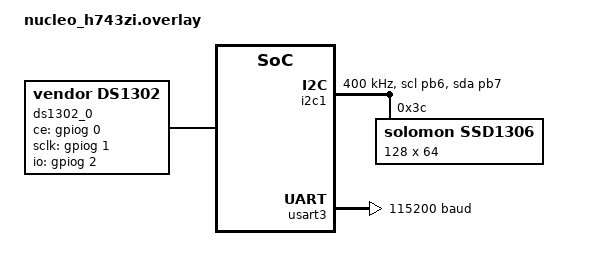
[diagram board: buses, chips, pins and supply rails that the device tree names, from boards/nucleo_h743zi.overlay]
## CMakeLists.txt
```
# SPDX-License-Identifier: Apache-2.0

cmake_minimum_required(VERSION 3.20.0)

find_package(Zephyr REQUIRED HINTS $ENV{ZEPHYR_BASE})
project(clock_display)

add_subdirectory(driver)

target_sources(app PRIVATE src/main.c)
```

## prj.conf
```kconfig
# Added automatically by Workbench for Zephyr
#--- DEBUG PRESET - BEGIN ---#
# Set to -Og
CONFIG_DEBUG_OPTIMIZATIONS=y
# Thread awareness support
CONFIG_DEBUG_THREAD_INFO=y
# Generate stack usage per-function
CONFIG_STACK_USAGE=y
# Other options in case not set by default
CONFIG_BUILD_OUTPUT_HEX=y
CONFIG_BUILD_OUTPUT_META=y
CONFIG_OUTPUT_SYMBOLS=y
CONFIG_OUTPUT_STAT=y
CONFIG_OUTPUT_DISASSEMBLY=y
CONFIG_OUTPUT_PRINT_MEMORY_USAGE=y
#--- DEBUG PRESET - END ---#

# Activar GPIO
CONFIG_GPIO=y

# Desactivar mensaje inicial de Zephyr
CONFIG_BOOT_BANNER=n

# Activar log
CONFIG_LOG=y
CONFIG_LOG_DEFAULT_LEVEL=3

# Activar I2C, display
CONFIG_I2C=y
CONFIG_DISPLAY=y
CONFIG_SSD1306=y
CONFIG_CHARACTER_FRAMEBUFFER=y
CONFIG_CHARACTER_FRAMEBUFFER_USE_DEFAULT_FONTS=y
CONFIG_HEAP_MEM_POOL_SIZE=4096

# Activar interrupciones UART
CONFIG_UART_INTERRUPT_DRIVEN=y
```

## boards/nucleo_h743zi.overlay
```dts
/* 
 * Overlay para RTC ds1302. Pines de conexion GPIOG 0, 1, 2 
 * Display ssd1306. Pines de conexion GPIOB 6 (scl), 7 (sda)
 */
#include <zephyr/dt-bindings/i2c/i2c.h>
#include <zephyr/dt-bindings/gpio/gpio.h>

/ {
    ds1302_0: ds1302 {
        compatible = "vendor,ds1302";
        ce-gpios   = <&gpiog 0 GPIO_ACTIVE_HIGH>;
        sclk-gpios = <&gpiog 1 GPIO_ACTIVE_HIGH>;
        io-gpios   = <&gpiog 2 GPIO_ACTIVE_HIGH>;
        status = "okay";
    };
};

/* Configuracion de display i2c */
&i2c1 {
    pinctrl-0 = <&i2c1_scl_pb6 &i2c1_sda_pb7>;
    pinctrl-names = "default";
    clock-frequency = <I2C_BITRATE_FAST>; /* 400kHz */
    status = "okay";

    ssd1306: ssd1306@3c {
        compatible = "solomon,ssd1306";
        reg = <0x3c>;
        segment-offset = <0>;
        page-offset = <0>;
        display-offset = <0>;
        multiplex-ratio = <63>;
        prechargep = <0x22>;
        width = <128>; height = <64>;
        segment-remap;
        com-invdir;
    };

};

/* Configuracion uart3 */
&usart3 {
    current-speed = <115200>;
    status = "okay";
};
```

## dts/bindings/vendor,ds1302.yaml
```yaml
description: driver para RTC DS1302

compatible: "vendor,ds1302"

properties:
  ce-gpios:
    type: phandle-array
    required: true
    description: chip enable pin

  sclk-gpios:
    type: phandle-array
    required: true
    description: serial clock pin

  io-gpios:
    type: phandle-array
    required: true
    description: data pin
```

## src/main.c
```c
#include <zephyr/kernel.h>
#include <zephyr/device.h>
#include <zephyr/drivers/gpio.h>
#include <zephyr/logging/log.h>
#include <zephyr/drivers/display.h>
#include <zephyr/display/cfb.h>

#include "z_ds1302.h"
#include "z_display.h"
#include "z_serial_console.h"

#define CONFIG_TIME 0

LOG_MODULE_REGISTER(main, LOG_LEVEL_INF);

int main(void)
{

#if CONFIG_TIME
	ds1302_time_t initial_time = {
		.seconds = 0,
		.minutes = 40,
		.hours = 8,
		.date = 12,
		.month = 3,
		.year = 26
	};
#endif
	int ret;
	char date_buf[16], time_buf[9];
	
	ret = ds1302_init();
	if (ret < 0) return ret;

	ret = app_display_setup();
	if (ret < 0) return ret;

	ret = uart_cmd_init();
	if (ret < 0) return ret;

	LOG_INF("Main initialized");

#if CONFIG_TIME
	ds1302_setTime(&initial_time);
#endif

	for (;;) {

		ds1302_getDate_str(date_buf, sizeof(date_buf));
		ds1302_getTime_str(time_buf, sizeof(time_buf));
		
		app_display_clear();
		app_display_line(date_buf, 8, 8);
		app_display_line(time_buf, 18, 32);
		app_display_flush();

		k_msleep(500);
	}

	return 0;
}
```
